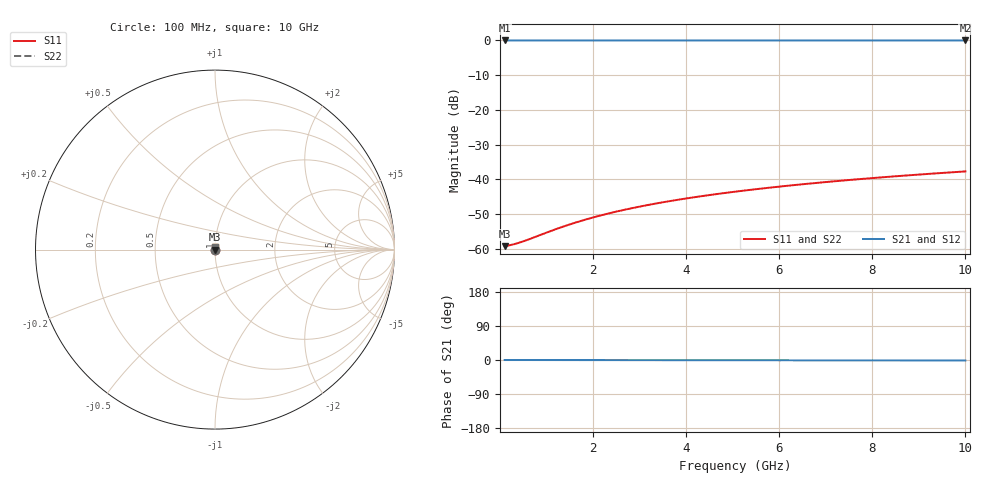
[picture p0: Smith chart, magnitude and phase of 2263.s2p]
# Hz S RI R 50.00
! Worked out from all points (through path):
!   100 points, 100 MHz to 10 GHz, reference 50 ohm
!   highest |S21| = -0.01 dB at 100 MHz (marker M1); lowest = 0.0 dB at 10 GHz (marker M2)
!   lowest |S11| = -59.3 dB at 100 MHz (marker M3), VSWR 1.00, Z = 50.1 + j0.0129 ohm
!   |S11| at or under -10 dB: start of sweep to end of sweep
!   |S22| runs from -59.3 to -37.7 dB; largest |S21 - S12| = 0
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1e8  0.00108 0.000129  0.9989 -0.000215  0.9989 -0.000215  0.00108 0.000129
2e8  0.00109 0.000258  0.9989 -0.00043  0.9989 -0.00043  0.00109 0.000258
3e8  0.00109 0.000387  0.9989 -0.000645  0.9989 -0.000645  0.00109 0.000387
4e8  0.0011 0.000516  0.9989 -0.00086  0.9989 -0.00086  0.0011 0.000516
6e8  0.00111 0.000773  0.9989 -0.00129  0.9989 -0.00129  0.00111 0.000773
1e9  0.00112 0.00129  0.9989 -0.00215  0.9989 -0.00215  0.00112 0.00129
1.3e9  0.00112 0.00168  0.9989 -0.00279  0.9989 -0.00279  0.00112 0.00168
1.5e9  0.00113 0.00193  0.9989 -0.00322  0.9989 -0.00322  0.00113 0.00193
1.8e9  0.00114 0.00232  0.9989 -0.00387  0.9989 -0.00387  0.00114 0.00232
2.1e9  0.00114 0.00271  0.9989 -0.00451  0.9989 -0.00451  0.00114 0.00271
2.5e9  0.00115 0.00322  0.9988 -0.00537  0.9988 -0.00537  0.00115 0.00322
2.9e9  0.00116 0.00374  0.9988 -0.00623  0.9988 -0.00623  0.00116 0.00374
3.4e9  0.00118 0.00438  0.9988 -0.00731  0.9988 -0.00731  0.00118 0.00438
3.8e9  0.00119 0.0049  0.9988 -0.00817  0.9988 -0.00817  0.00119 0.0049
4.2e9  0.0012 0.00541  0.9988 -0.00903  0.9988 -0.00903  0.0012 0.00541
4.6e9  0.00122 0.00593  0.9988 -0.00989  0.9988 -0.00989  0.00122 0.00593
5.1e9  0.00123 0.00658  0.9988 -0.011  0.9988 -0.011  0.00123 0.00658
5.9e9  0.00126 0.00761  0.9987 -0.0127  0.9987 -0.0127  0.00126 0.00761
6.7e9  0.0013 0.00864  0.9987 -0.0144  0.9987 -0.0144  0.0013 0.00864
7.5e9  0.00134 0.00967  0.9986 -0.0161  0.9986 -0.0161  0.00134 0.00967
8.4e9  0.00138 0.0108  0.9986 -0.0181  0.9986 -0.0181  0.00138 0.0108
1e10  0.00148 0.0129  0.9985 -0.0215  0.9985 -0.0215  0.00148 0.0129
